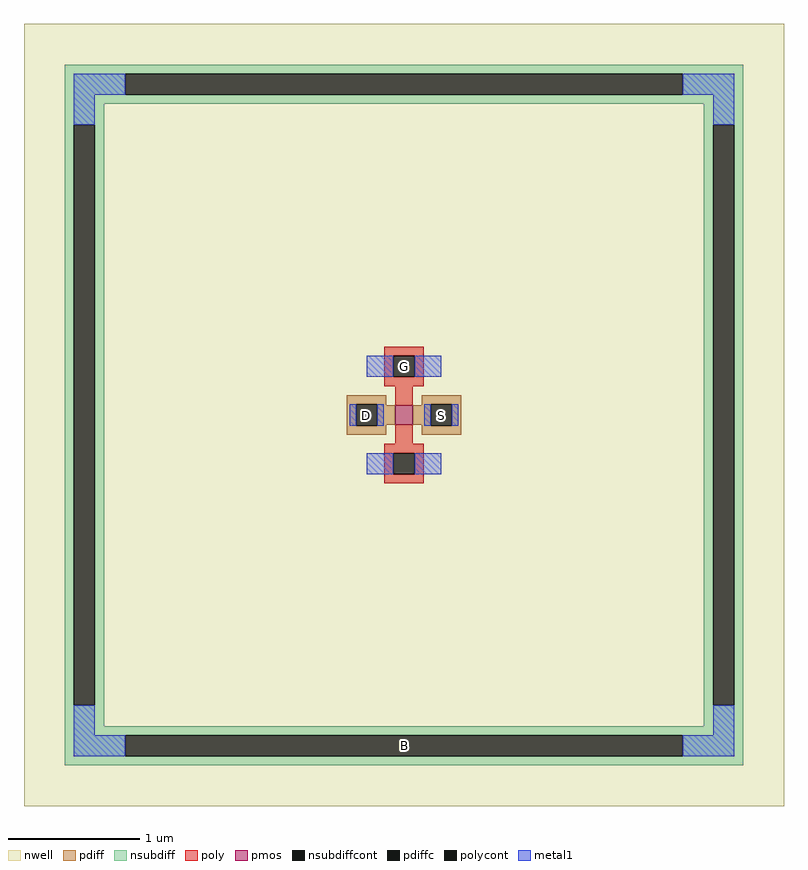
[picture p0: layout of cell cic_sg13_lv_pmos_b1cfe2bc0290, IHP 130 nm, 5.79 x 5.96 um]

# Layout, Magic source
magic
tech ihp-sg13cmos5l
magscale 1 2
<< nwell >>
rect -579 -596 579 596
<< pmos >>
rect -13 -15 13 15
<< pdiff >>
rect -87 16 -27 30
rect -87 -16 -73 16
rect -41 15 -27 16
rect 27 16 87 30
rect 27 15 41 16
rect -41 -15 -13 15
rect 13 -15 41 15
rect -41 -16 -27 -15
rect -87 -30 -27 -16
rect 27 -16 41 -15
rect 73 -16 87 16
rect 27 -30 87 -16
<< pdiffc >>
rect -73 -16 -41 16
rect 41 -16 73 16
<< nsubdiff >>
rect -517 520 517 534
rect -517 488 -425 520
rect 425 488 517 520
rect -517 474 517 488
rect -517 442 -457 474
rect -517 -442 -503 442
rect -471 -442 -457 442
rect 457 442 517 474
rect -517 -474 -457 -442
rect 457 -442 471 442
rect 503 -442 517 442
rect 457 -474 517 -442
rect -517 -488 517 -474
rect -517 -520 -425 -488
rect 425 -520 517 -488
rect -517 -534 517 -520
<< nsubdiffcont >>
rect -425 488 425 520
rect -503 -442 -471 442
rect 471 -442 503 442
rect -425 -520 425 -488
<< poly >>
rect -30 90 30 104
rect -30 58 -16 90
rect 16 58 30 90
rect -30 44 30 58
rect -13 15 13 44
rect -13 -44 13 -15
rect -30 -58 30 -44
rect -30 -90 -16 -58
rect 16 -90 30 -58
rect -30 -104 30 -90
<< polycont >>
rect -16 58 16 90
rect -16 -90 16 -58
<< metal1 >>
rect -503 488 -425 520
rect 425 488 503 520
rect -503 442 -471 488
rect 471 442 503 488
rect -57 58 -16 90
rect 16 58 57 90
rect -83 -16 -73 16
rect -41 -16 -31 16
rect 31 -16 41 16
rect 73 -16 83 16
rect -57 -90 -16 -58
rect 16 -90 57 -58
rect -503 -488 -471 -442
rect 471 -488 503 -442
rect -503 -520 -425 -488
rect 425 -520 503 -488
<< labels >>
rlabel nsubdiffcont 0 -504 0 -504 0 B
port 1 nsew
rlabel pdiffc -57 0 -57 0 0 D
port 2 nsew
rlabel pdiffc 57 0 57 0 0 S
port 3 nsew
rlabel polycont 0 74 0 74 0 G
port 4 nsew
<< properties >>
string FIXED_BBOX -487 -504 487 504
string gencell sg13_lv_pmos
string library sg13cmos5l
string parameters w 0.15 l 0.13 m 1 ng 1 diffcov 100 polycov 100 guard 1 glc 1 grc 1 gtc 1 gbc 1 tbcov 100 rlcov 100 topc 1 botc 1 poverlap 0 doverlap 1 lmin 0.13 wmin 0.15 class mosfet compatible {sg13_lv_pmos sg13_hv_pmos} full_metal 1 conn_gates 1 gate_ring 0 ccols 1 viasrc 0 viadrn 0 viagate 0 viagb 0 viagr 0 viagl 0 viagt 0 doports 1 set_x_to_guard 2.0 set_y_to_guard 2.0
<< end >>
